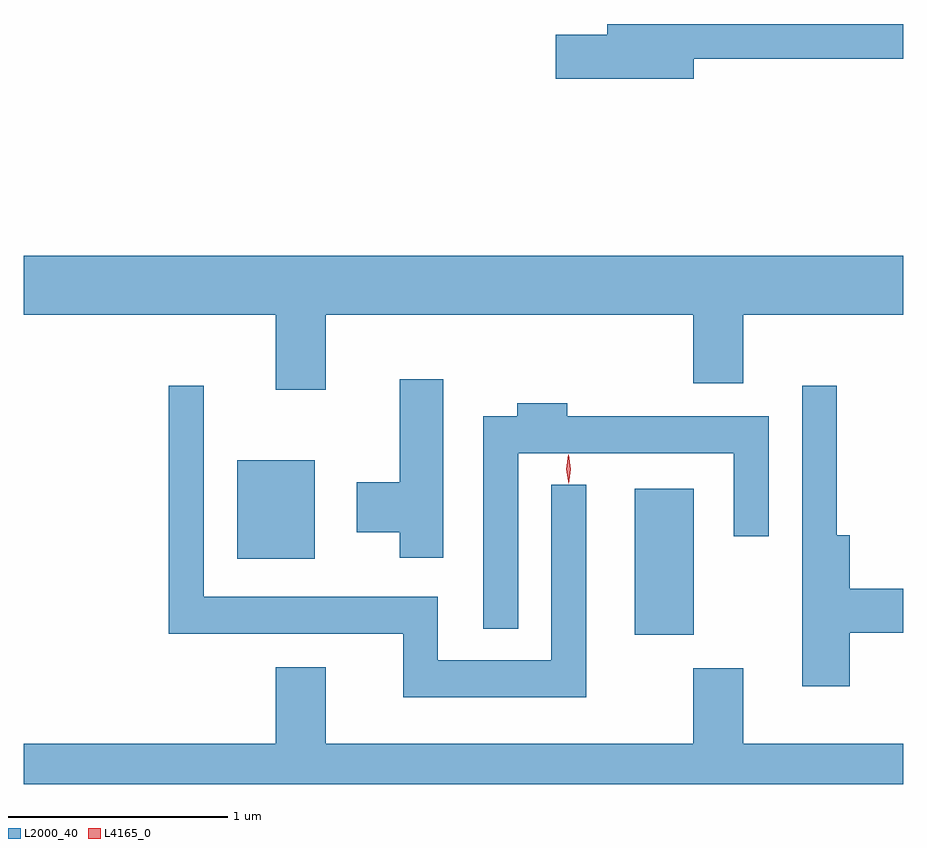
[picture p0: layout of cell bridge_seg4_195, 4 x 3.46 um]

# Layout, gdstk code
import gdstk
lib = gdstk.Library(unit=1e-6, precision=1e-09)
def R(c, l, rs):  # rectangles x0, y0, x1, y1
    for r in rs: c.add(gdstk.rectangle(r[:2], r[2:], *l))
def P(c, l, *ps):  # polygons
    for p in ps: c.add(gdstk.Polygon(p, *l))
L2000_40 = (2000, 40)
L4165_0 = (4165, 0)

bridge_seg4_195 = lib.new_cell('bridge_seg4_195')
R(bridge_seg4_195, L2000_40, [(980.416,1319.921,980.684,1320.584), (978.606,1320.266,978.959,1320.714)])
P(bridge_seg4_195, L2000_40, [(980.684,1322.541),(981.636,1322.541),(981.636,1322.699),(980.291,1322.699),(980.291,1322.649),(980.056,1322.649),(980.056,1322.451),(980.684,1322.451)],
  [(979.009,1321.376),(980.681,1321.376),(980.681,1321.066),(980.909,1321.066),(980.909,1321.376),(981.636,1321.376),(981.636,1321.644),(977.636,1321.644),(977.636,1321.376),(978.781,1321.376),(978.781,1321.036),(979.009,1321.036)],
  [(979.544,1321.084),(979.346,1321.084),(979.346,1320.614),(979.151,1320.614),(979.151,1320.386),(979.346,1320.386),(979.346,1320.271),(979.544,1320.271)],
  [(981.394,1319.931),(981.636,1319.931),(981.636,1320.129),(981.394,1320.129),(981.394,1320.374),(981.334,1320.374),(981.334,1321.053),(981.176,1321.053),(981.176,1319.686),(981.394,1319.686)],
  [(980.194,1320.603),(980.036,1320.603),(980.036,1319.804),(979.519,1319.804),(979.519,1320.094),(978.454,1320.094),(978.454,1321.053),(978.296,1321.053),(978.296,1319.926),(979.361,1319.926),(979.361,1319.636),(980.194,1319.636)],
  [(979.884,1320.746),(980.866,1320.746),(980.866,1320.368),(981.024,1320.368),(981.024,1320.914),(980.109,1320.914),(980.109,1320.974),(979.881,1320.974),(979.881,1320.914),(979.726,1320.914),(979.726,1319.948),(979.884,1319.948)],
  [(981.636,1319.424),(980.909,1319.424),(980.909,1319.769),(980.681,1319.769),(980.681,1319.424),(979.009,1319.424),(979.009,1319.774),(978.781,1319.774),(978.781,1319.424),(977.636,1319.424),(977.636,1319.242),(981.636,1319.242)])
P(bridge_seg4_195, L4165_0, [(980.114,1320.607),(980.114,1320.608),(980.104,1320.674),(980.113,1320.74),(980.114,1320.74),(980.114,1320.74),(980.124,1320.674),(980.115,1320.608)])

lib.write_gds('bridge_seg4_195.gds')
